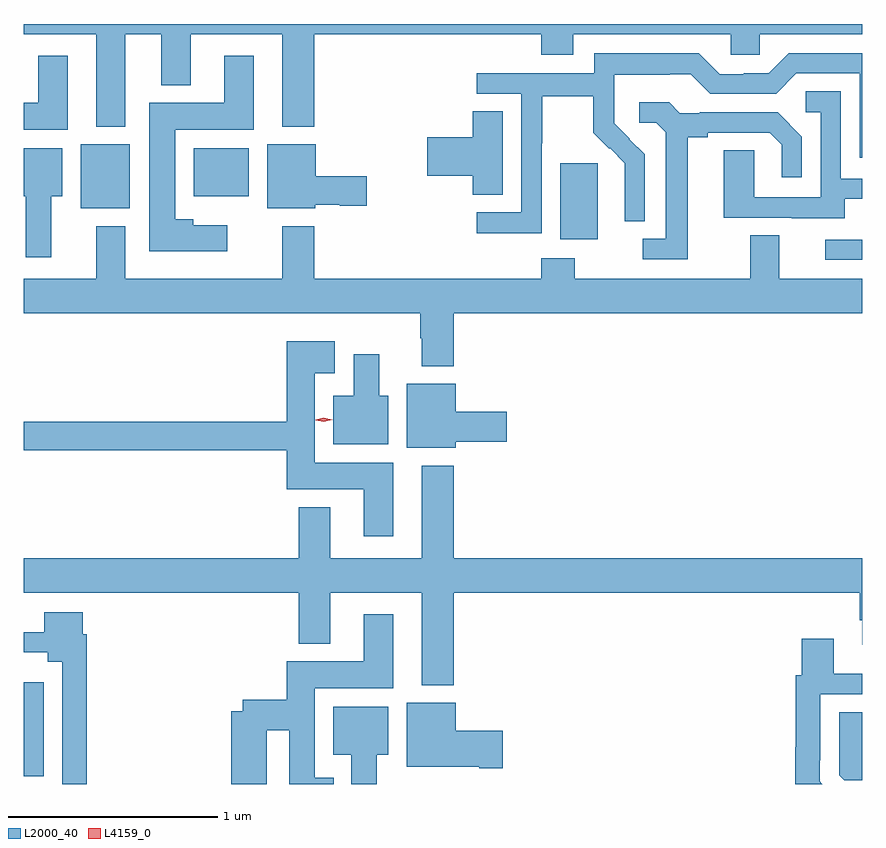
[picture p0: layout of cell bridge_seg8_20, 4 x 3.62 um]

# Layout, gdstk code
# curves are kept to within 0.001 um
import gdstk
lib = gdstk.Library(unit=1e-6, precision=1e-09)
def R(c, l, rs):  # rectangles x0, y0, x1, y1
    for r in rs: c.add(gdstk.rectangle(r[:2], r[2:], *l))
def P(c, l, *ps):  # polygons
    for p in ps: c.add(gdstk.Polygon(p, *l))
L2000_40 = (2000, 40)
L4159_0 = (4159, 0)

bridge_seg8_20 = lib.new_cell('bridge_seg8_20')
R(bridge_seg8_20, L2000_40, [(899.582,1160.913,899.677,1161.361), (903.405,1163.376,903.582,1163.472), (902.141,1163.474,902.32,1163.835), (899.855,1163.621,900.088,1163.926), (900.392,1163.678,900.655,1163.908)])
P(bridge_seg8_20, L2000_40, [(900.067,1164.452),(900.239,1164.452),(900.239,1164.209),(900.379,1164.209),(900.379,1164.452),(900.815,1164.452),(900.815,1164.011),(900.968,1164.011),(900.968,1164.452),(902.051,1164.452),(902.051,1164.353),(902.203,1164.353),(902.203,1164.452),(902.955,1164.452),(902.955,1164.354),(903.093,1164.354),(903.093,1164.452),(903.582,1164.452),(903.582,1164.5),(899.582,1164.5),(899.582,1164.452),(899.927,1164.452),(899.927,1164.011),(900.067,1164.011)],
  [(902.052,1163.932),(902.055,1163.932),(902.055,1164.156),(902.299,1164.156),(902.299,1163.981),(902.376,1163.904),(902.379,1163.907),(902.45,1163.837),(902.45,1163.714),(902.448,1163.714),(902.448,1163.56),(902.544,1163.56),(902.544,1163.878),(902.398,1164.026),(902.398,1164.123),(902.4,1164.123),(902.4,1164.257),(902.663,1164.257),(902.663,1164.261),(902.763,1164.261),(902.856,1164.168),(903.171,1164.168),(903.267,1164.264),(903.57,1164.264),(903.57,1163.862),(903.582,1163.862),(903.582,1164.36),(903.231,1164.36),(903.135,1164.264),(903.017,1164.264),(903.017,1164.261),(902.901,1164.261),(902.801,1164.361),(902.304,1164.361),(902.304,1164.264),(901.743,1164.264),(901.743,1164.168),(901.956,1164.168),(901.956,1163.601),(901.743,1163.601),(901.743,1163.503),(902.052,1163.503)],
  [(900.553,1163.539),(900.391,1163.539),(900.391,1163.569),(900.304,1163.569),(900.304,1163.996),(900.679,1163.996),(900.679,1164.349),(900.539,1164.349),(900.539,1164.124),(900.182,1164.124),(900.182,1163.417),(900.553,1163.417)],
  [(899.791,1164.349),(899.651,1164.349),(899.651,1164.124),(899.582,1164.124),(899.582,1163.996),(899.791,1163.996)],
  [(903.499,1163.667),(903.582,1163.667),(903.582,1163.763),(903.48,1163.763),(903.48,1164.179),(903.312,1164.179),(903.312,1164.078),(903.384,1164.078),(903.384,1163.673),(903.066,1163.673),(903.066,1163.897),(902.921,1163.897),(902.921,1163.577),(903.245,1163.577),(903.245,1163.573),(903.499,1163.573)],
  [(902.749,1163.96),(902.845,1163.96),(902.845,1163.982),(903.14,1163.982),(903.197,1163.925),(903.197,1163.769),(903.294,1163.769),(903.294,1163.962),(903.178,1164.078),(902.806,1164.078),(902.806,1164.075),(902.712,1164.075),(902.66,1164.127),(902.517,1164.127),(902.517,1164.03),(902.598,1164.03),(902.645,1163.983),(902.645,1163.475),(902.535,1163.475),(902.535,1163.379),(902.749,1163.379)],
  [(901.867,1164.083),(901.724,1164.083),(901.724,1163.96),(901.506,1163.96),(901.506,1163.777),(901.724,1163.777),(901.724,1163.686),(901.867,1163.686)],
  [(900.972,1163.639),(901.089,1163.639),(901.089,1163.632),(901.219,1163.632),(901.219,1163.774),(900.976,1163.774),(900.976,1163.926),(900.743,1163.926),(900.743,1163.621),(900.972,1163.621)],
  [(899.713,1163.678),(899.767,1163.678),(899.767,1163.908),(899.582,1163.908),(899.582,1163.678),(899.591,1163.678),(899.591,1163.388),(899.713,1163.388)],
  [(901.634,1163.12),(903.582,1163.12),(903.582,1163.284),(903.187,1163.284),(903.187,1163.492),(903.047,1163.492),(903.047,1163.284),(902.211,1163.284),(902.211,1163.383),(902.051,1163.383),(902.051,1163.284),(900.968,1163.284),(900.968,1163.536),(900.815,1163.536),(900.815,1163.284),(900.067,1163.284),(900.067,1163.536),(899.927,1163.536),(899.927,1163.284),(899.582,1163.284),(899.582,1163.12),(901.474,1163.12),(901.474,1163),(901.481,1163),(901.481,1162.868),(901.634,1162.868)],
  [(901.345,1162.408),(900.97,1162.408),(900.97,1162.835),(901.066,1162.835),(901.066,1162.987),(900.836,1162.987),(900.836,1162.604),(899.582,1162.604),(899.582,1162.468),(900.836,1162.468),(900.836,1162.28),(901.205,1162.28),(901.205,1162.056),(901.345,1162.056)],
  [(901.321,1162.726),(901.279,1162.726),(901.279,1162.924),(901.157,1162.924),(901.157,1162.726),(901.058,1162.726),(901.058,1162.496),(901.321,1162.496)],
  [(901.642,1162.508),(901.885,1162.508),(901.885,1162.65),(901.642,1162.65),(901.642,1162.783),(901.409,1162.783),(901.409,1162.478),(901.642,1162.478)],
  [(901.634,1161.788),(903.569,1161.788),(903.569,1161.655),(903.581,1161.655),(903.581,1161.54),(903.582,1161.54),(903.582,1161.952),(901.634,1161.952),(901.634,1162.393),(901.481,1162.393),(901.481,1161.952),(901.045,1161.952),(901.045,1162.195),(900.893,1162.195),(900.893,1161.952),(899.582,1161.952),(899.582,1161.788),(900.893,1161.788),(900.893,1161.545),(901.045,1161.545),(901.045,1161.788),(901.481,1161.788),(901.481,1161.347),(901.634,1161.347)],
  [(899.882,1161.59),(899.863,1161.59),(899.863,1161.694),(899.681,1161.694),(899.681,1161.6),(899.582,1161.6),(899.582,1161.504),(899.696,1161.504),(899.696,1161.458),(899.766,1161.458),(899.766,1160.875),(899.882,1160.875)],
  [(900.742,1161.131),(900.848,1161.131),(900.848,1160.875),(901.06,1160.875),(901.06,1160.905),(900.97,1160.905),(900.97,1161.332),(901.345,1161.332),(901.345,1161.685),(901.205,1161.685),(901.205,1161.46),(900.836,1161.46),(900.836,1161.278),(900.626,1161.278),(900.626,1161.223),(900.572,1161.223),(900.572,1160.875),(900.742,1160.875)],
  [(903.378,1160.889),(903.378,1160.989),(903.381,1160.989),(903.381,1161.303),(903.582,1161.303),(903.582,1161.4),(903.445,1161.4),(903.445,1161.568),(903.293,1161.568),(903.293,1161.393),(903.265,1161.393),(903.265,1161.05),(903.263,1161.05),(903.263,1160.875),(903.392,1160.875)],
  [(901.867,1161.128),(901.642,1161.128),(901.642,1161.262),(901.409,1161.262),(901.409,1160.957),(901.754,1160.957),(901.754,1160.95),(901.867,1160.95)],
  [(901.267,1161.014),(901.321,1161.014),(901.321,1161.244),(901.058,1161.244),(901.058,1161.014),(901.145,1161.014),(901.145,1160.875),(901.267,1160.875)],
  [(903.582,1161.218),(903.471,1161.218),(903.471,1160.916),(903.495,1160.893),(903.582,1160.893)])
P(bridge_seg8_20, L4159_0, [(901.013,1162.602),(900.974,1162.611),(900.974,1162.611),(900.974,1162.612),(901.013,1162.622),(901.053,1162.612),(901.053,1162.612),(901.053,1162.612)])

lib.write_gds('bridge_seg8_20.gds')
